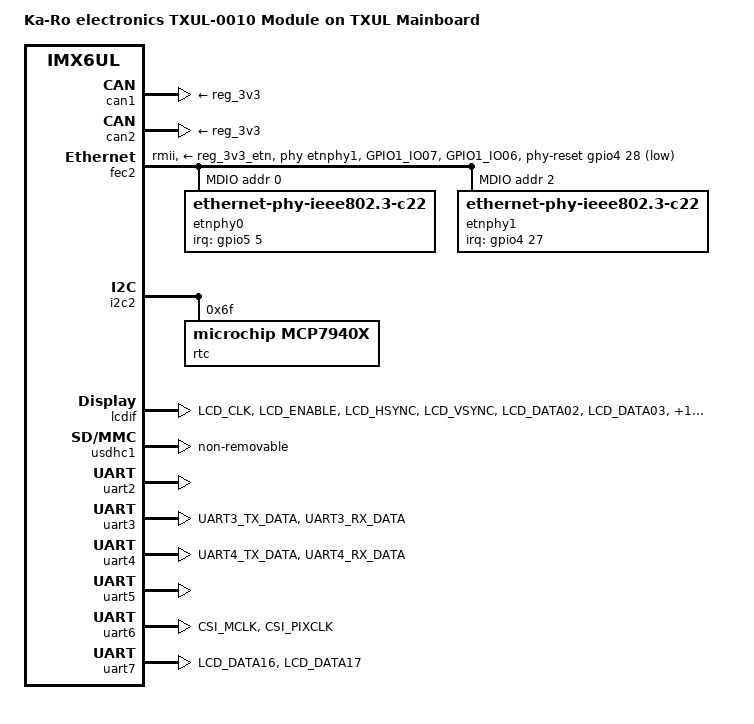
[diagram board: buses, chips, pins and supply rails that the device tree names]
/*
 * Copyright 2015 Lothar Waßmann <LW@KARO-electronics.de>
 *
 * This file is dual-licensed: you can use it either under the terms
 * of the GPL or the X11 license, at your option. Note that this dual
 * licensing only applies to this file, and not this project as a
 * whole.
 *
 *  a) This file is free software; you can redistribute it and/or
 *     modify it under the terms of the GNU General Public License
 *     version 2 as published by the Free Software Foundation.
 *
 *     This file is distributed in the hope that it will be useful,
 *     but WITHOUT ANY WARRANTY; without even the implied warranty of
 *     MERCHANTABILITY or FITNESS FOR A PARTICULAR PURPOSE.  See the
 *     GNU General Public License for more details.
 *
 * Or, alternatively,
 *
 *  b) Permission is hereby granted, free of charge, to any person
 *     obtaining a copy of this software and associated documentation
 *     files (the "Software"), to deal in the Software without
 *     restriction, including without limitation the rights to use,
 *     copy, modify, merge, publish, distribute, sublicense, and/or
 *     sell copies of the Software, and to permit persons to whom the
 *     Software is furnished to do so, subject to the following
 *     conditions:
 *
 *     The above copyright notice and this permission notice shall be
 *     included in all copies or substantial portions of the Software.
 *
 *     THE SOFTWARE IS PROVIDED "AS IS", WITHOUT WARRANTY OF ANY KIND,
 *     EXPRESS OR IMPLIED, INCLUDING BUT NOT LIMITED TO THE WARRANTIES
 *     OF MERCHANTABILITY, FITNESS FOR A PARTICULAR PURPOSE AND
 *     NONINFRINGEMENT. IN NO EVENT SHALL THE AUTHORS OR COPYRIGHT
 *     HOLDERS BE LIABLE FOR ANY CLAIM, DAMAGES OR OTHER LIABILITY,
 *     WHETHER IN AN ACTION OF CONTRACT, TORT OR OTHERWISE, ARISING
 *     FROM, OUT OF OR IN CONNECTION WITH THE SOFTWARE OR THE USE OR
 *     OTHER DEALINGS IN THE SOFTWARE.
 */

/dts-v1/;
#include "imx6ul.dtsi"
#include "imx6ul-tx6ul.dtsi"

/ {
	model = "Ka-Ro electronics TXUL-0010 Module on TXUL Mainboard";
	compatible = "karo,imx6ul-tx6ul", "fsl,imx6ul";

	aliases {
		lcdif_24bit_pins_a = &pinctrl_disp0_3;
		mmc0 = &usdhc1;
		/delete-property/ mmc1;
		serial2 = &uart3;
		serial4 = &uart5;
	};
	/delete-node/ sound;
};

&can1 {
	xceiver-supply = <&reg_3v3>;
};

&can2 {
	xceiver-supply = <&reg_3v3>;
};

&ds1339 {
	status = "disabled";
};

&fec1 {
	pinctrl-0 = <&pinctrl_enet1 &pinctrl_etnphy0_rst>;
	/delete-node/ mdio;
};

&fec2 {
	pinctrl-names = "default";
	pinctrl-0 = <&pinctrl_enet2 &pinctrl_enet2_mdio &pinctrl_etnphy1_rst>;
	phy-mode = "rmii";
	phy-reset-gpios = <&gpio4 28 GPIO_ACTIVE_HIGH>;
	phy-supply = <&reg_3v3_etn>;
	phy-handle = <&etnphy1>;
	status = "okay";

	mdio {
		#address-cells = <1>;
		#size-cells = <0>;

		etnphy0: ethernet-phy@0 {
			compatible = "ethernet-phy-ieee802.3-c22";
			reg = <0>;
			pinctrl-names = "default";
			pinctrl-0 = <&pinctrl_etnphy0_int>;
			interrupt-parent = <&gpio5>;
			interrupts = <5 IRQ_TYPE_EDGE_FALLING>;
			interrupts-extended = <&gpio5 5 IRQ_TYPE_EDGE_FALLING>;
			status = "okay";
		};

		etnphy1: ethernet-phy@2 {
			compatible = "ethernet-phy-ieee802.3-c22";
			reg = <2>;
			pinctrl-names = "default";
			pinctrl-0 = <&pinctrl_etnphy1_int>;
			interrupt-parent = <&gpio4>;
			interrupts = <27 IRQ_TYPE_EDGE_FALLING>;
			interrupts-extended = <&gpio4 27 IRQ_TYPE_EDGE_FALLING>;
			status = "okay";
		};
	};
};

&i2c_gpio {
	status = "disabled";
};

&i2c2 {
	/delete-node/ codec@0a;
	/delete-node/ touchscreen@48;

	rtc: mcp7940x@6f {
		compatible = "microchip,mcp7940x";
		reg = <0x6f>;
	};
};

&kpp {
	status = "disabled";
};

&lcdif {
	pinctrl-0 = <&pinctrl_disp0_3>;
};

&reg_usbotg_vbus{
	status = "disabled";
};

&usdhc1 {
	pinctrl-0 = <&pinctrl_usdhc1>;
	non-removable;
	/delete-property/ cd-gpios;
	cap-sdio-irq;
};

&uart1 {
	pinctrl-0 = <&pinctrl_uart1>;
	/delete-property/ uart-has-rtscts;
};

&uart2 {
	pinctrl-0 = <&pinctrl_uart2>;
	/delete-property/ uart-has-rtscts;
	status = "okay";
};

&uart3 {
	pinctrl-names = "default";
	pinctrl-0 = <&pinctrl_uart3>;
	status = "okay";
};

&uart4 {
	pinctrl-names = "default";
	pinctrl-0 = <&pinctrl_uart4>;
	status = "okay";
};

&uart5 {
	pinctrl-names = "default";
	pinctrl-0 = <&pinctrl_uart5>;
	status = "okay";
};

&uart6 {
	pinctrl-names = "default";
	pinctrl-0 = <&pinctrl_uart6>;
	status = "okay";
};

&uart7 {
	pinctrl-names = "default";
	pinctrl-0 = <&pinctrl_uart7>;
	status = "okay";
};

&uart8 {
	pinctrl-names = "default";
	pinctrl-0 = <&pinctrl_uart8>;
	status = "disabled"; /* conflicts with LCDIF */
};

&iomuxc {
	hoggrp {
		fsl,pins = <
			MX6UL_PAD_CSI_DATA01__GPIO4_IO22	0x0b0b0 /* WLAN_RESET */
		>;
	};

	pinctrl_disp0_3: disp0grp-3 {
		fsl,pins = <
			MX6UL_PAD_LCD_CLK__LCDIF_CLK		0x10 /* LSCLK */
			MX6UL_PAD_LCD_ENABLE__LCDIF_ENABLE	0x10 /* OE_ACD */
			MX6UL_PAD_LCD_HSYNC__LCDIF_HSYNC	0x10 /* HSYNC */
			MX6UL_PAD_LCD_VSYNC__LCDIF_VSYNC	0x10 /* VSYNC */
			MX6UL_PAD_LCD_DATA02__LCDIF_DATA02	0x10
			MX6UL_PAD_LCD_DATA03__LCDIF_DATA03	0x10
			MX6UL_PAD_LCD_DATA04__LCDIF_DATA04	0x10
			MX6UL_PAD_LCD_DATA05__LCDIF_DATA05	0x10
			MX6UL_PAD_LCD_DATA06__LCDIF_DATA06	0x10
			MX6UL_PAD_LCD_DATA07__LCDIF_DATA07	0x10
			/* LCD_DATA08..09 not wired */
			MX6UL_PAD_LCD_DATA10__LCDIF_DATA10	0x10
			MX6UL_PAD_LCD_DATA11__LCDIF_DATA11	0x10
			MX6UL_PAD_LCD_DATA12__LCDIF_DATA12	0x10
			MX6UL_PAD_LCD_DATA13__LCDIF_DATA13	0x10
			MX6UL_PAD_LCD_DATA14__LCDIF_DATA14	0x10
			MX6UL_PAD_LCD_DATA15__LCDIF_DATA15	0x10
			/* LCD_DATA16..17 not wired */
			MX6UL_PAD_LCD_DATA18__LCDIF_DATA18	0x10
			MX6UL_PAD_LCD_DATA19__LCDIF_DATA19	0x10
			MX6UL_PAD_LCD_DATA20__LCDIF_DATA20	0x10
			MX6UL_PAD_LCD_DATA21__LCDIF_DATA21	0x10
			MX6UL_PAD_LCD_DATA22__LCDIF_DATA22	0x10
			MX6UL_PAD_LCD_DATA23__LCDIF_DATA23	0x10
		>;
	};

	pinctrl_enet2_mdio: enet2-mdiogrp {
		fsl,pins = <
			MX6UL_PAD_GPIO1_IO07__ENET2_MDC		0x0b0b0
			MX6UL_PAD_GPIO1_IO06__ENET2_MDIO	0x1b0b0
		>;
	};

	pinctrl_uart3: uart3grp {
		fsl,pins = <
			MX6UL_PAD_UART3_TX_DATA__UART3_DCE_TX	0x0b0b0
			MX6UL_PAD_UART3_RX_DATA__UART3_DCE_RX	0x0b0b0
		>;
	};

	pinctrl_uart4: uart4grp {
		fsl,pins = <
			MX6UL_PAD_UART4_TX_DATA__UART4_DCE_TX	0x0b0b0
			MX6UL_PAD_UART4_RX_DATA__UART4_DCE_RX	0x0b0b0
		>;
	};

	pinctrl_uart6: uart6grp {
		fsl,pins = <
			MX6UL_PAD_CSI_MCLK__UART6_DCE_TX	0x0b0b0
			MX6UL_PAD_CSI_PIXCLK__UART6_DCE_RX	0x0b0b0
		>;
	};

	pinctrl_uart7: uart7grp {
		fsl,pins = <
			MX6UL_PAD_LCD_DATA16__UART7_DCE_TX	0x0b0b0
			MX6UL_PAD_LCD_DATA17__UART7_DCE_RX	0x0b0b0
		>;
	};

	pinctrl_uart8: uart8grp {
		fsl,pins = <
			MX6UL_PAD_LCD_DATA20__UART8_DCE_TX	0x0b0b0
			MX6UL_PAD_LCD_DATA21__UART8_DCE_RX	0x0b0b0
		>;
	};
};
